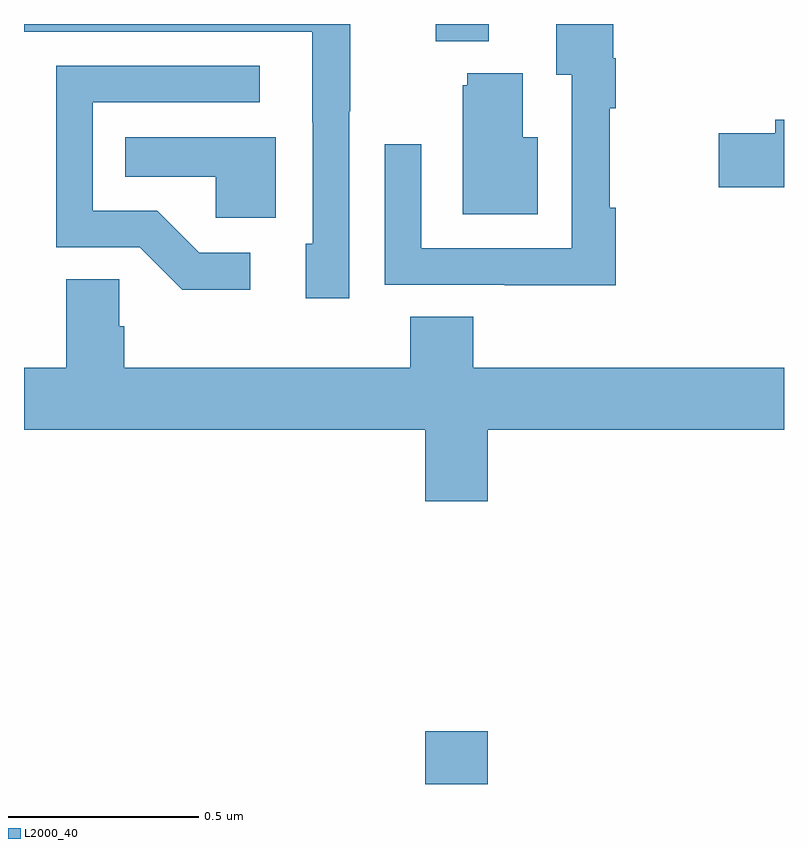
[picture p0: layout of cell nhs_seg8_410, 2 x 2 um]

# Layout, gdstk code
import gdstk
lib = gdstk.Library(unit=1e-6, precision=1e-09)
def R(c, l, rs):  # rectangles x0, y0, x1, y1
    for r in rs: c.add(gdstk.rectangle(r[:2], r[2:], *l))
def P(c, l, *ps):  # polygons
    for p in ps: c.add(gdstk.Polygon(p, *l))
L2000_40 = (2000, 40)

nhs_seg8_410 = lib.new_cell('nhs_seg8_410')
R(nhs_seg8_410, L2000_40, [(117.056,1116.9,117.22,1117.039), (117.083,1118.855,117.223,1118.9)])
P(nhs_seg8_410, L2000_40, [(116.856,1118.671),(116.859,1118.671),(116.859,1118.9),(116,1118.9),(116,1118.88),(116.759,1118.88),(116.759,1118.641),(116.76,1118.641),(116.76,1118.322),(116.741,1118.322),(116.741,1118.178),(116.856,1118.178)],
  [(117.557,1118.417),(117.542,1118.417),(117.542,1118.678),(117.557,1118.678),(117.557,1118.81),(117.55,1118.81),(117.55,1118.9),(117.401,1118.9),(117.401,1118.767),(117.441,1118.767),(117.441,1118.31),(117.045,1118.31),(117.045,1118.584),(116.949,1118.584),(116.949,1118.214),(117.265,1118.214),(117.265,1118.213),(117.557,1118.213)],
  [(116.596,1118.298),(116.461,1118.298),(116.35,1118.409),(116.181,1118.409),(116.181,1118.694),(116.62,1118.694),(116.62,1118.79),(116.085,1118.79),(116.085,1118.313),(116.304,1118.313),(116.417,1118.201),(116.596,1118.201)],
  [(117.352,1118.602),(117.313,1118.602),(117.313,1118.77),(117.167,1118.77),(117.167,1118.739),(117.155,1118.739),(117.155,1118.399),(117.352,1118.399)],
  [(118,1118.648),(117.977,1118.648),(117.977,1118.612),(117.828,1118.612),(117.828,1118.47),(118,1118.47)],
  [(116.662,1118.602),(116.266,1118.602),(116.266,1118.498),(116.505,1118.498),(116.505,1118.39),(116.662,1118.39)],
  [(117.22,1117.832),(118,1117.832),(118,1117.996),(117.182,1117.996),(117.182,1118.129),(117.017,1118.129),(117.017,1117.996),(116.264,1117.996),(116.264,1118.105),(116.25,1118.105),(116.25,1118.228),(116.111,1118.228),(116.111,1117.996),(116,1117.996),(116,1117.832),(117.056,1117.832),(117.056,1117.644),(117.22,1117.644)])

lib.write_gds('nhs_seg8_410.gds')
